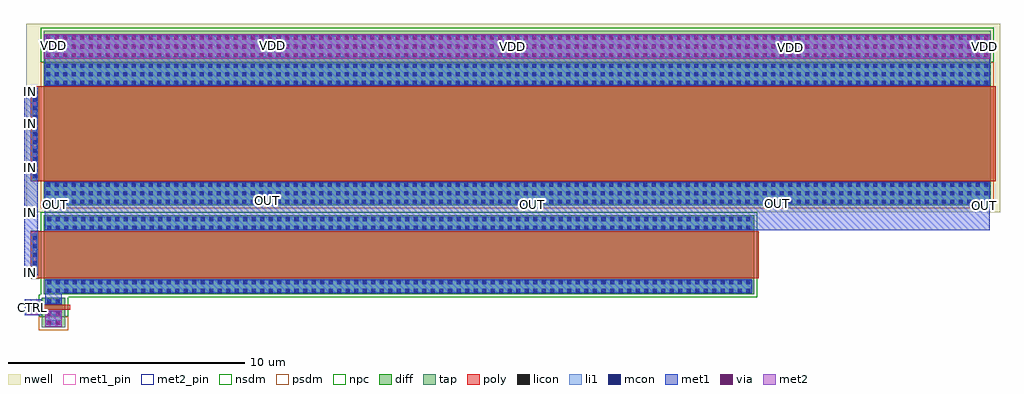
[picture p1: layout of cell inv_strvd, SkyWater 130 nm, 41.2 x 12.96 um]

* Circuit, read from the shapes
.subckt inv_strvd CTRL IN OUT VDD VSS
XM1 n1 CTRL VSS VSS sky130_fd_pr__nfet_01v8 w=1 l=0.2
XM2 OUT IN n1 VSS sky130_fd_pr__nfet_01v8 w=30 l=2
XM3 VDD IN OUT VDD sky130_fd_pr__pfet_01v8 w=40 l=4
.ends

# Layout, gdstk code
from math import pi, radians
import gdstk
lib = gdstk.Library(unit=1e-6, precision=1e-09)
def R(c, l, rs):  # rectangles x0, y0, x1, y1
    for r in rs: c.add(gdstk.rectangle(r[:2], r[2:], *l))
def A(c, l, x, y, w, h, nx, ny, dx, dy):  # array of equal rectangles
    R(c, l, [(x+i*dx, y+j*dy, x+i*dx+w, y+j*dy+h) for i in range(nx) for j in range(ny)])
nwell = (64, 20)
diff = (65, 20)
tap = (65, 44)
poly = (66, 20)
licon = (66, 44)
li1 = (67, 20)
mcon = (67, 44)
met1_pin = (68, 16)
met1 = (68, 20)
via = (68, 44)
met2_pin = (69, 16)
met2 = (69, 20)
nsdm = (93, 44)
psdm = (94, 20)
npc = (95, 20)

nfet_10 = lib.new_cell('nfet$10')
R(nfet_10, diff, [(0,0,3.32,30)])
R(nfet_10, poly, [(0.66,-0.2,2.66,30.2), (0.66,30.2,2.66,30.53)])
A(nfet_10, licon, 0.065, 0.155, 0.17, 0.17, 1, 83, 0, 0.36)
A(nfet_10, licon, 0.425, 0.155, 0.17, 0.17, 1, 83, 0, 0.36)
A(nfet_10, licon, 2.725, 0.155, 0.17, 0.17, 1, 83, 0, 0.36)
A(nfet_10, licon, 3.085, 0.155, 0.17, 0.17, 1, 83, 0, 0.36)
A(nfet_10, licon, 0.855, 30.28, 0.17, 0.17, 5, 1, 0.36, 0)
R(nfet_10, li1, [(0.065,0.075,0.595,29.925), (2.725,0.075,3.255,29.925), (0.775,30.28,2.545,30.45)])
A(nfet_10, mcon, 0.065, 0.155, 0.17, 0.17, 1, 83, 0, 0.36)
A(nfet_10, mcon, 0.425, 0.155, 0.17, 0.17, 1, 83, 0, 0.36)
A(nfet_10, mcon, 2.725, 0.155, 0.17, 0.17, 1, 83, 0, 0.36)
A(nfet_10, mcon, 3.085, 0.155, 0.17, 0.17, 1, 83, 0, 0.36)
A(nfet_10, mcon, 0.855, 30.28, 0.17, 0.17, 5, 1, 0.36, 0)
R(nfet_10, met1, [(0.035,0.095,0.625,29.905), (2.695,0.095,3.285,29.905), (0.795,30.25,2.525,30.48)])
R(nfet_10, nsdm, [(-0.125,-0.125,3.445,30.125)])
R(nfet_10, npc, [(0.65,30.19,2.67,30.54)])

pfet_6 = lib.new_cell('pfet$6')
R(pfet_6, nwell, [(-0.305,-0.38,7.671,40.72)])
R(pfet_6, diff, [(0,0,6.04,40)])
R(pfet_6, tap, [(6.04,0,7.366,40)])
R(pfet_6, poly, [(1.02,-0.2,5.02,40.2), (1.02,40.2,5.02,40.53)])
A(pfet_6, licon, 0.065, 0.115, 0.17, 0.17, 3, 111, 0.36, 0.36)
A(pfet_6, licon, 5.085, 0.115, 0.17, 0.17, 3, 111, 0.36, 0.36)
A(pfet_6, licon, 6.258, 0.115, 0.17, 0.17, 3, 111, 0.36, 0.36)
A(pfet_6, licon, 1.135, 40.28, 0.17, 0.17, 11, 1, 0.36, 0)
R(pfet_6, li1, [(0.065,0.035,0.955,39.965), (5.085,0.035,5.975,39.965), (6.258,0.035,7.148,39.965), (1.055,40.28,4.985,40.45)])
A(pfet_6, mcon, 0.065, 0.115, 0.17, 0.17, 3, 111, 0.36, 0.36)
A(pfet_6, mcon, 5.085, 0.115, 0.17, 0.17, 3, 111, 0.36, 0.36)
A(pfet_6, mcon, 1.135, 40.28, 0.17, 0.17, 11, 1, 0.36, 0)
R(pfet_6, met1, [(0.035,0.055,0.985,39.945), (5.055,0.055,6.005,39.945), (1.075,40.25,4.965,40.48)])
R(pfet_6, nsdm, [(6.04,-0.125,7.492,40.125)])
R(pfet_6, psdm, [(-0.125,-0.125,6.039,40.125)])
R(pfet_6, npc, [(1.01,40.19,5.03,40.54)])

nfet = lib.new_cell('nfet')
R(nfet, diff, [(0,0,0.8,1)])
R(nfet, tap, [(0.8,0,1.25,1)])
R(nfet, poly, [(0.3,-0.2,0.5,1.2), (0.265,1.2,0.535,1.53)])
R(nfet, licon, [(0.065,0.235,0.235,0.405), (0.565,0.235,0.735,0.405), (0.94,0.235,1.11,0.405), (0.065,0.595,0.235,0.765), (0.565,0.595,0.735,0.765), (0.94,0.595,1.11,0.765), (0.315,1.28,0.485,1.45)])
R(nfet, li1, [(0.065,0.155,0.235,0.845), (0.565,0.155,0.735,0.845), (0.94,0.155,1.11,0.845), (0.235,1.28,0.565,1.45)])
R(nfet, mcon, [(0.065,0.235,0.235,0.405), (0.565,0.235,0.735,0.405), (0.065,0.595,0.235,0.765), (0.565,0.595,0.735,0.765), (0.315,1.28,0.485,1.45)])
R(nfet, met1, [(0.035,0.175,0.265,0.825), (0.535,0.175,0.765,0.825), (0.217,1.25,0.583,1.48)])
R(nfet, nsdm, [(-0.125,-0.125,0.799,1.125)])
R(nfet, psdm, [(0.8,-0.125,1.374,1.125)])
R(nfet, npc, [(0.255,1.19,0.545,1.54)])

inv_strvd = lib.new_cell('inv_strvd')
A(inv_strvd, mcon, -19.65, 10.753, 0.17, 0.17, 111, 3, 0.36, 0.36)
R(inv_strvd, mcon, [(-19.61,-0.525,-19.44,-0.355), (-19.25,-0.525,-19.08,-0.355)])
R(inv_strvd, met1_pin, [(-20.496,-0.102,-19.916,0.463), (-20.59,1.54,-20.015,9.46), (-19.71,3.44,20.18,5.48)])
R(inv_strvd, met1, [(-19.69,-0.64,-19,0.05), (-20.551,-0.157,-19.871,0.523), (-19.69,0.32,-19,1.37), (-20.59,1.54,-20.015,9.46), (-20.59,1.54,-20.015,9.46), (-20.245,3.27,-20.015,5.57), (-19.71,3.44,20.18,5.48), (-19.71,3.44,20.18,5.48), (-19.71,10.5,20.18,11.688), (-19.73,10.753,-19.71,11.688), (20.18,10.753,20.2,11.688)])
A(inv_strvd, via, -19.64, 10.763, 0.15, 0.15, 111, 3, 0.36, 0.36)
R(inv_strvd, via, [(-19.605,-0.555,-19.455,-0.405), (-19.235,-0.555,-19.085,-0.405), (-19.605,-0.185,-19.455,-0.035), (-19.235,-0.185,-19.085,-0.035)])
R(inv_strvd, met2_pin, [(-19.69,-0.64,-19,0.05), (-19.725,10.678,20.195,11.718)])
R(inv_strvd, met2, [(-19.69,-0.64,-19,0.05), (-19.725,10.678,20.195,11.718)])
inv_strvd.add(gdstk.Reference(nfet_10, (10.235,0.745), rotation=pi/2))
inv_strvd.add(gdstk.Reference(pfet_6, (20.235,4.495), rotation=pi/2))
inv_strvd.add(gdstk.Reference(nfet, (-18.845,0.585), rotation=3*pi/2, x_reflection=True))
inv_strvd.add(gdstk.Label('CTRL', (-20.211,0.188), layer=68, texttype=5))
inv_strvd.add(gdstk.Label('OUT', (19.98,4.475), layer=68, texttype=5))
inv_strvd.add(gdstk.Label('OUT', (-19.26,4.545), layer=68, texttype=5))
inv_strvd.add(gdstk.Label('OUT', (0.89,4.535), layer=68, texttype=5))
inv_strvd.add(gdstk.Label('OUT', (11.225,4.57), layer=68, texttype=5))
inv_strvd.add(gdstk.Label('OUT', (-10.32,4.715), layer=68, texttype=5))
inv_strvd.add(gdstk.Label('IN', (-20.31,9.3), layer=68, texttype=5))
inv_strvd.add(gdstk.Label('IN', (-20.315,1.665), layer=68, texttype=5))
inv_strvd.add(gdstk.Label('IN', (-20.31,6.1), layer=68, texttype=5))
inv_strvd.add(gdstk.Label('IN', (-20.31,7.935), layer=68, texttype=5))
inv_strvd.add(gdstk.Label('IN', (-20.3,4.17), layer=68, texttype=5))
inv_strvd.add(gdstk.Label('VSS', (-19.355,-0.235), layer=69, texttype=5))
inv_strvd.add(gdstk.Label('VDD', (-19.365,11.23), layer=69, texttype=5))
inv_strvd.add(gdstk.Label('VDD', (19.97,11.215), layer=69, texttype=5))
inv_strvd.add(gdstk.Label('VDD', (0.045,11.185), layer=69, texttype=5))
inv_strvd.add(gdstk.Label('VDD', (11.76,11.145), layer=69, texttype=5))
inv_strvd.add(gdstk.Label('VDD', (-10.08,11.25), layer=69, texttype=5))

lib.write_gds('inv_strvd.gds')
